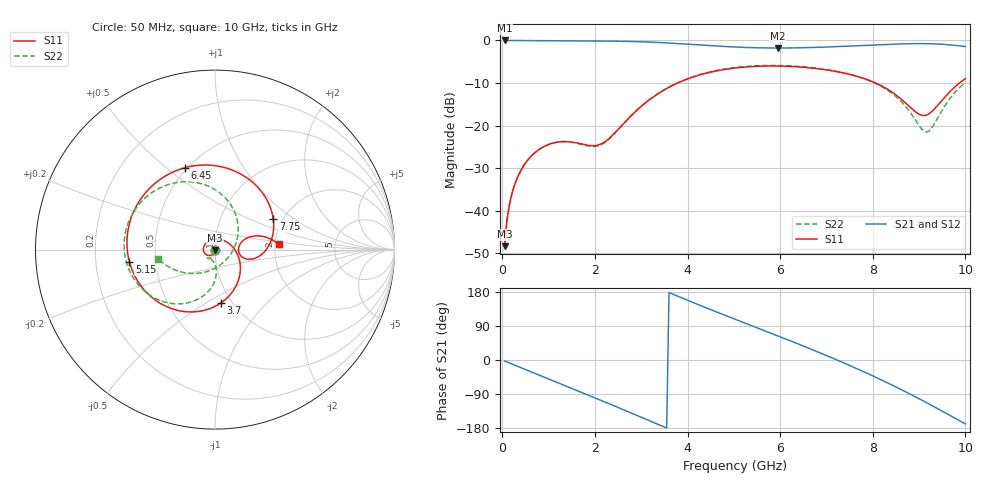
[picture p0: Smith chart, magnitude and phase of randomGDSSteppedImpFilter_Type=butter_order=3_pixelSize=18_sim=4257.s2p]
! freq	dB(S11)	phase(S11)	dB(S12)	phase(S12)
!  dB(S21)	phase(S21)	dB(S22)	phase(S22)
!S-par simulation data
#  GHz  S  DB  R 50
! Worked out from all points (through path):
!   200 points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, 50 MHz to 10 GHz, reference 50 ohm
!   highest |S21| = -0.01 dB at 50 MHz (marker M1); lowest = -1.8 dB at 5.95 GHz (marker M2)
!   group delay of S21, straight-line fit = 143 ps
!   lowest |S11| = -48.3 dB at 50 MHz (marker M3), VSWR 1.01, Z = 50 - j0.382 ohm
!   |S11| at or under -10 dB: start of sweep to 3.79 GHz; 8.061 GHz to 9.873 GHz (1.813 GHz wide, 20.2 % of centre)
!   |S22| runs from -48.3 to -5.9 dB; largest |S21 - S12| = 0
!   S11 on the Smith chart (normalised r, x): 50 MHz: 1.00, -0.01; 3.7 GHz: 0.89, -0.58; 5.15 GHz: 0.35, -0.06; 6.45 GHz: 0.49, +0.58; 7.75 GHz: 1.79, +0.70; 10 GHz: 2.09, +0.14
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0.05  -48.35 -88.5  -0.01 -2.5  -0.01 -2.5  -48.32 -87.1
0.1  -42.32 -94.1  -0.01 -5.0  -0.01 -5.0  -42.28 -91.3
0.2  -36.35 -101.7  -0.02 -10.0  -0.02 -10.0  -36.31 -96.2
0.55  -28.11 -125.5  -0.05 -27.4  -0.05 -27.4  -28.09 -109.4
1.1  -24.10 -164.7  -0.08 -54.7  -0.08 -54.7  -24.12 -126.5
1.75  -24.42 132.3  -0.12 -87.1  -0.12 -87.1  -24.56 -128.8
2.5  -20.92 17.8  -0.19 -125.2  -0.19 -125.2  -21.00 -88.8
3.4  -12.27 -63.6  -0.50 -171.8  -0.50 -171.8  -12.22 -100.7
3.7  -10.46 -84.0  -0.68 172.8  -0.68 172.8  -10.39 -110.9
4.35  -7.85 -124.8  -1.13 140.2  -1.13 140.2  -7.76 -135.0
5.05  -6.46 -166.1  -1.56 106.4  -1.56 106.4  -6.34 -160.9
5.15  -6.34 -171.9  -1.61 101.7  -1.61 101.7  -6.23 -164.6
5.95  -6.02 141.0  -1.79 63.7  -1.79 63.7  -5.89 166.9
6.45  -6.27 110.4  -1.73 39.4  -1.73 39.4  -6.15 149.1
6.7  -6.51 94.6  -1.66 27.0  -1.66 27.0  -6.41 140.1
7.25  -7.38 59.3  -1.44 -1.1  -1.44 -1.1  -7.34 119.5
7.75  -8.73 27.5  -1.20 -28.0  -1.20 -28.0  -8.77 98.7
8.35  -11.67 -6.0  -0.91 -62.1  -0.91 -62.1  -11.93 67.4
8.75  -15.11 -16.6  -0.77 -86.4  -0.77 -86.4  -16.07 35.3
9.15  -17.57 4.0  -0.76 -111.9  -0.76 -111.9  -21.53 -42.3
9.6  -12.81 19.2  -0.99 -141.7  -0.99 -141.7  -14.67 -133.7
10  -8.98 4.9  -1.44 -168.7  -1.44 -168.7  -9.88 -170.9
